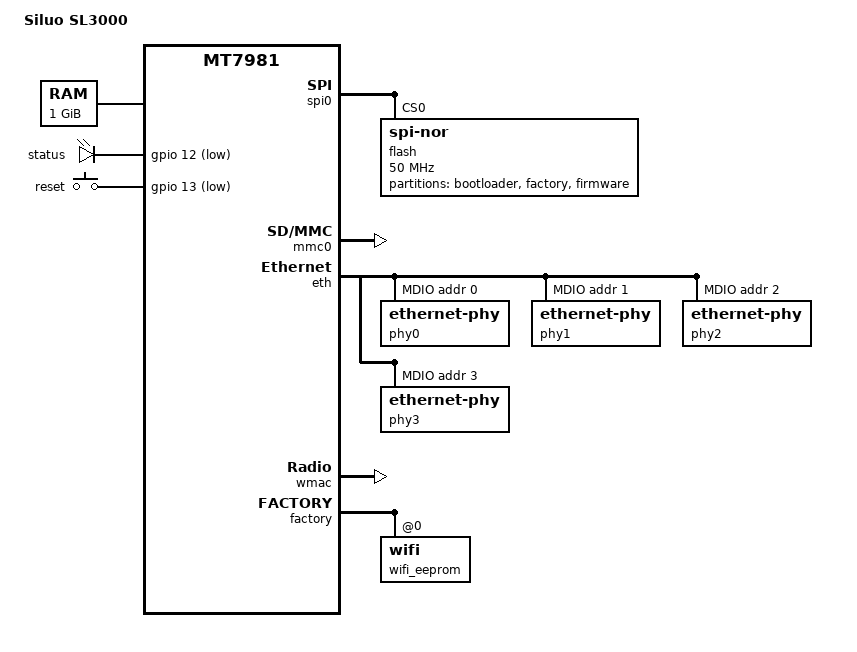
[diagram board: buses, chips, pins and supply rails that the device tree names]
/dts-v1/;

#include "mt7981.dtsi"

/ {
    compatible = "siluo,sl3000", "mediatek,mt7981";
    model = "Siluo SL3000";

    chosen {
        stdout-path = &uart0;
        bootargs = "console=ttyS0,115200n8";
    };

    aliases {
        led-boot = &led_status;
        led-failsafe = &led_status;
        led-running = &led_status;
        led-upgrade = &led_status;
    };

    memory {
        device_type = "memory";
        reg = <0x0 0x40000000>; /* 1GiB DDR4，从 0x0 起始 */
    };

    leds {
        compatible = "gpio-leds";

        led_status: status {
            label = "status";
            gpios = <&gpio 12 GPIO_ACTIVE_LOW>;
            default-state = "off";
        };
    };

    keys {
        compatible = "gpio-keys";

        reset {
            label = "reset";
            linux,code = <KEY_RESTART>;
            gpios = <&gpio 13 GPIO_ACTIVE_LOW>;
            debounce-interval = <20>;
        };
    };
};

/* SPI-NOR Flash 32MB */
&spi0 {
    status = "okay";

    flash@0 {
        compatible = "jedec,spi-nor";
        reg = <0>;
        spi-max-frequency = <50000000>;

        partitions {
            compatible = "fixed-partitions";
            #address-cells = <1>;
            #size-cells = <1>;

            bootloader@0 {
                label = "bootloader";
                reg = <0x00000000 0x00200000>; /* 2MB */
                read-only;
            };

            factory@200000 {
                label = "factory";
                reg = <0x00200000 0x00100000>; /* 1MB 校准数据 */
                read-only;
            };

            firmware@300000 {
                label = "firmware";
                reg = <0x00300000 0x01D00000>; /* 剩余空间作为固件区 */
            };
        };
    };
};

/* eMMC 128GB */
&mmc0 {
    status = "okay";

    partitions {
        compatible = "fixed-partitions";
        #address-cells = <1>;
        #size-cells = <1>;

        firmware@1000000 {
            label = "firmware";
            reg = <0x01000000 0x20000000>; /* 512MB 固件区 */
        };

        userdata@21000000 {
            label = "userdata";
            reg = <0x21000000 0x7EF000000>; /* 剩余空间作为用户数据区 */
        };
    };
};

/* Ethernet: 4x Gigabit ports */
&eth {
    status = "okay";

    mdio-bus {
        phy0: ethernet-phy@0 { reg = <0>; };
        phy1: ethernet-phy@1 { reg = <1>; };
        phy2: ethernet-phy@2 { reg = <2>; };
        phy3: ethernet-phy@3 { reg = <3>; };
    };

    port@0 {
        phy-handle = <&phy0>;
        phy-mode = "rgmii";
    };
    port@1 {
        phy-handle = <&phy1>;
        phy-mode = "rgmii";
    };
    port@2 {
        phy-handle = <&phy2>;
        phy-mode = "rgmii";
    };
    port@3 {
        phy-handle = <&phy3>;
        phy-mode = "rgmii";
    };
};

/* Wi-Fi 6 AX3000 */
&wmac {
    status = "okay";
    nvmem-cells = <&wifi_eeprom>;
    nvmem-cell-names = "eeprom";
};

/* Wi-Fi 校准数据绑定到 factory 分区 */
&factory {
    wifi_eeprom: wifi@0 {
        reg = <0x0 0x1000>;
    };
};
